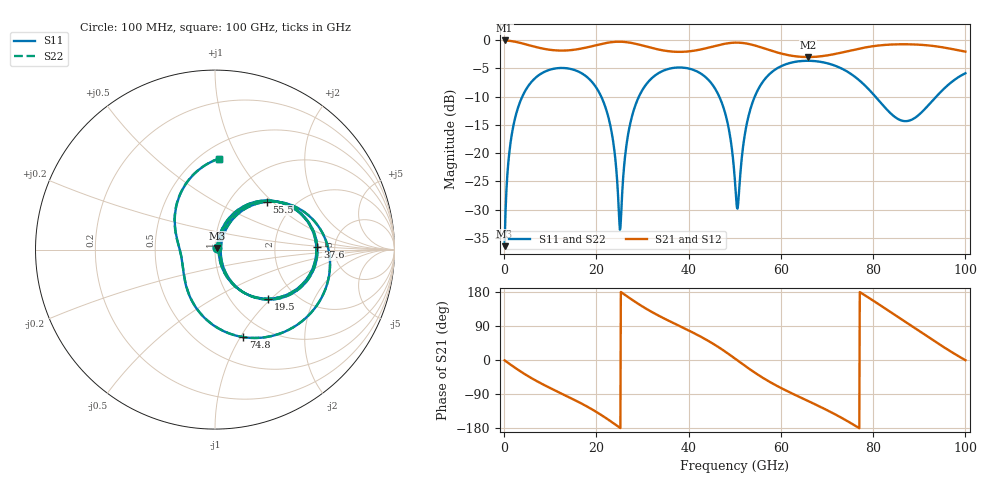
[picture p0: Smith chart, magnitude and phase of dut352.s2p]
! Touchstone file exported from HFSS 2026.1.0
!  File:  C:/ffzhzh/LocalFiles/Ansys_Project_Files/temp_train_TSV_RDL_352_1783708481_45496.aedt
!  Generated:  02:44:01 AM Jul 11, 2026
!  Design:  TSV_RDL
!  Project:  temp_train_TSV_RDL_352_1783708481_45496
! Variables:
!  h_bsmrdl = 3.91um
!  h_ox = 20um
!  h_rdl = 5um
!  h_sub = 82.65um
!  h_tmrdl = 3.56um
!  h_tsv = 82.65um
!  h_via = 3um
!  l_bsmrdl = 361.03um
!  l_sub = 2294.96um
!  l_tmrdl = 174.73um
!  m_sub = 200um
!  pitch = 50.02um
!  r_tsv = 6.69um
!  s_tmrdl = 10um
!  w_bsmrdl = 15.42um
!  w_sub = 500um
!  w_tmrdl = 22.23um
!  x_tsv_center1 = 185.845um
!  x_tsv_center2 = 562.295um
!  x_tsv_center3 = 759.255um
!  x_tsv_center4 = 1135.705um
!  x_tsv_center5 = 1332.665um
!  x_tsv_center6 = 1709.115um
# GHz S MA R 50.000000
! Terminal data exported
! Port[1] = TM_RDL1_1_T1
! Port[2] = TM_RDL5_1_T1
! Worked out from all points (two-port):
!   1000 points, 100 MHz to 100 GHz, reference 50 ohm
!   highest |S21| = -0.10 dB at 100 MHz (marker M1); lowest = -3.0 dB at 65.9 GHz (marker M2)
!   |S21| within 3 dB of the highest: start of sweep to end of sweep
!   lowest |S11| = -36.4 dB at 100 MHz (marker M3), VSWR 1.03, Z = 51.2 + j0.953 ohm
!   |S11| at or under -10 dB: 21.04 GHz to 29.23 GHz (8.194 GHz wide, 32.6 % of centre); 46.63 GHz to 54.35 GHz (7.716 GHz wide, 15.3 % of centre); 80.47 GHz to 93.7 GHz (13.23 GHz wide, 15.2 % of centre) (the widest 3 of 4)
!   |S22| runs from -36.4 to -3.7 dB; largest |S21 - S12| = 1.7e-14
!   S11 on the Smith chart (normalised r, x): 100 MHz: 1.02, +0.02; 19.5 GHz: 1.47, -0.96; 37.6 GHz: 3.65, +0.14; 55.5 GHz: 1.46, +0.92; 74.8 GHz: 0.78, -1.03; 100 GHz: 0.61, +0.84
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0.1  0.01509 38.1  0.9882 -0.9  0.9882 -0.9  0.01509 38.1
! Gamma 0 0 0 0
! Port Impedance 50 0 50 0
1.5  0.1333 70.5  0.9764 -13.2  0.9764 -13.2  0.1333 70.5
4.2  0.3325 51.6  0.9247 -35.2  0.9247 -35.2  0.3325 51.6
10.7  0.5555 10.0  0.8107 -78.3  0.8107 -78.3  0.5555 10.0
16.8  0.5074 -25.4  0.839 -115.0  0.839 -115.0  0.5074 -25.4
19.5  0.4033 -42.7  0.8889 -133.4  0.8889 -133.4  0.4034 -42.8
23  0.1769 -65.7  0.9514 -160.9  0.9514 -160.9  0.1769 -65.9
25.1  0.02109 -7.0  0.9631 -178.8  0.9631 -178.8  0.02076 -7.2
27.9  0.225 61.4  0.9347 157.6  0.9347 157.6  0.225 61.5
33.4  0.5065 25.5  0.8232 117.6  0.8232 117.6  0.5065 25.5
37.6  0.5701 1.3  0.7839 92.2  0.7839 92.2  0.5701 1.3
46.4  0.331 -51.9  0.8973 34.5  0.8973 34.5  0.3311 -52.0
50.1  0.05218 -49.8  0.9453 3.3  0.9453 3.3  0.0519 -50.4
50.7  0.03443 17.7  0.9452 -2.0  0.9452 -2.0  0.03384 17.9
52.6  0.1811 60.4  0.9275 -18.7  0.9275 -18.7  0.1809 60.6
55.5  0.3925 42.8  0.8638 -42.5  0.8638 -42.5  0.3924 42.8
65.9  0.6536 -18.7  0.7052 -108.2  0.7052 -108.2  0.6535 -18.7
66.7  0.6521 -23.1  0.7063 -112.8  0.7063 -112.8  0.652 -23.1
74.8  0.5124 -72.1  0.7998 -163.9  0.7998 -163.9  0.5124 -72.0
83.4  0.2328 -137.1  0.9074 129.5  0.9074 129.5  0.2329 -136.6
90.4  0.2271 161.0  0.9043 72.9  0.9043 72.9  0.227 161.6
100  0.5071 87.5  0.7876 -0.5  0.7876 -0.5  0.507 87.7
